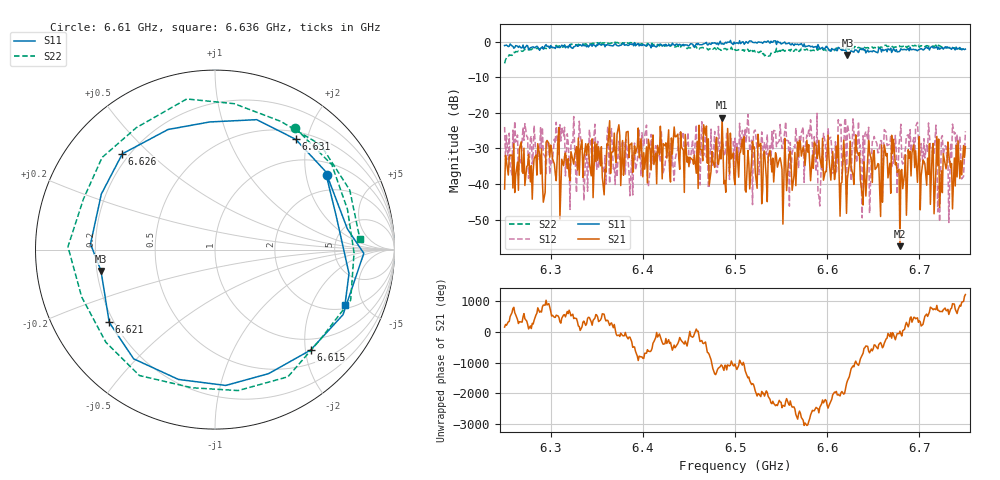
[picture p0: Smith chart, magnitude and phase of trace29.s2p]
# Hz S RI R 50
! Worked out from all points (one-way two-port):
!   401 points, 6.25 GHz to 6.75 GHz, reference 50 ohm
!   highest |S21| = -21.34 dB at 6.486 GHz (marker M1); lowest = -57.4 dB at 6.679 GHz (marker M2)
!   lowest |S11| = -3.8 dB at 6.622 GHz (marker M3), VSWR 4.65, Z = 10.8 - j4.41 ohm
!   |S11| at or under -10 dB: nowhere
!   |S22| runs from -6.1 to 0.0 dB; largest |S21 - S12| = 0.12
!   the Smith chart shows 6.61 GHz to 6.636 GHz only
!   S11 on the Smith chart (normalised r, x): 6.61 GHz: 1.40, +2.65; 6.615 GHz: 0.76, -2.10; 6.621 GHz: 0.18, -0.30; 6.626 GHz: 0.17, +0.41; 6.631 GHz: 0.62, +1.81; 6.636 GHz: 2.24, -3.61
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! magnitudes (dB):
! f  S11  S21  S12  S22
! 6.25 GHz  -1.1  -41.4  -24.0  -6.1
! 6.334 GHz  -1.2  -27.6  -30.6  -0.9
! 6.418 GHz  -0.7  -31.7  -32.5  -1.2
! 6.486 GHz  -0.6  -21.3  -26.2  -2.0
! 6.5 GHz  -0.6  -40.2  -27.1  -2.2
! 6.584 GHz  -1.3  -31.8  -29.4  -2.5
! 6.592 GHz  -2.1  -32.6  -46.1  -1.9
! 6.599 GHz  -1.3  -36.5  -33.4  -2.5
! 6.61 GHz  -2.5  -29.3  -36.8  -1.8
! 6.615 GHz  -2.2  -39.8  -23.2  -1.9
! 6.621 GHz  -2.9  -48.2  -42.9  -1.7
! 6.622 GHz  -3.8  -38.4  -23.3  -2.0
! 6.626 GHz  -2.6  -35.3  -39.1  -2.1
! 6.631 GHz  -2.4  -26.2  -28.4  -1.7
! 6.636 GHz  -2.1  -38.7  -29.0  -1.8
! 6.668 GHz  -2.3  -34.2  -28.8  -1.2
! 6.679 GHz  -2.7  -57.4  -26.5  -1.4
! 6.691 GHz  -2.3  -37.7  -30.8  -1.3
! 6.71 GHz  -1.7  -37.3  -22.8  -1.3
! 6.721 GHz  -1.5  -27.4  -40.6  -1.0
! 6.726 GHz  -2.1  -31.5  -31.9  -1.4
! 6.75 GHz  -2.1  -29.5  -25.2  -2.2
